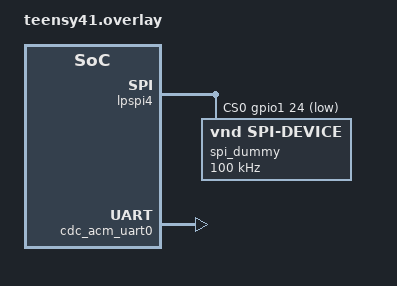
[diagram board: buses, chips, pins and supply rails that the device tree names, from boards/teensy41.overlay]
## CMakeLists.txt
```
# SPDX-License-Identifier: Apache-2.0

cmake_minimum_required(VERSION 3.20.0)

set(BOARD teensy41)

get_filename_component(LPSPI_MODULE
    "${CMAKE_CURRENT_LIST_DIR}/../../../../../modules/lpspi"
    ABSOLUTE
)

list(APPEND EXTRA_ZEPHYR_MODULES 
	${LPSPI_MODULE}
)

find_package(Zephyr REQUIRED HINTS $ENV{ZEPHYR_BASE})
project(lpspi_sample)

FILE(GLOB app_sources src/*.cpp)
target_sources(app PRIVATE ${app_sources})
```

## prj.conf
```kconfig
# Enable C++ and STL support 
CONFIG_CPP=y 
CONFIG_CPP_EXCEPTIONS=y 
CONFIG_CPP_RTTI=y 
CONFIG_STD_CPP23=y 
CONFIG_GLIBCXX_LIBCPP=y 
CONFIG_NEWLIB_LIBC=y 
CONFIG_NEWLIB_LIBC_NANO=n 

# System 
CONFIG_FPU=y 
CONFIG_FPU_SHARING=y 
CONFIG_THREAD_ANALYZER=y

# USB (new)
CONFIG_USB_DEVICE_STACK_NEXT=y
CONFIG_CDC_ACM_SERIAL_INITIALIZE_AT_BOOT=y

# Enable logging
CONFIG_LOG=y
CONFIG_USBD_LOG_LEVEL_WRN=y
CONFIG_LOG_BUFFER_SIZE=8192
# Enable console
CONFIG_CONSOLE=y
CONFIG_UART_CONSOLE=y
CONFIG_LOG_PRINTK=n
CONFIG_SHELL_LOG_BACKEND=n

# driver features
CONFIG_SPI=y
```

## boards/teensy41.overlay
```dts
&lpspi4 {
    // driver: zephyr 4.3.0-rc1
    // compatible = "nxp,lpspi";
    // driver: zephyr 4.0.0
    compatible = "nxp,imx-lpspi";

    status = "okay";

    transfer-delay = <50>; // ns

    pinctrl-0 = <&pinmux_lpspi4>;
    pinctrl-names = "default";
    
    cs-gpios = <&gpio1 24 GPIO_ACTIVE_LOW>; // Steering 1 (front-left)

    spi_dummy: nodevice@0{
        reg = <0>;
        compatible = "vnd,spi-device";
        spi-max-frequency = <100000>;
    };
};

&zephyr_udc0 {
    cdc_acm_uart0: cdc_acm_uart0 {
		compatible = "zephyr,cdc-acm-uart";
	};
};

/ {
    chosen {
	    zephyr,console = &cdc_acm_uart0;
        // use hardware uart for early debug (if necessary):
        // zephyr,console = &lpuart6;
    };
};
```

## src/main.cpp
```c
#include <zephyr/device.h>
#include <zephyr/drivers/spi.h>

int main(){
    printk("LPSPI sample application\n");

    const spi_dt_spec spi_dummy = SPI_DT_SPEC_GET(DT_NODELABEL(spi_dummy), SPI_WORD_SET(8));

    if (!spi_is_ready_dt(&spi_dummy)) {
		printk("spi_dummy: device not ready.\n");
		return 0;
	}

    while (true) {        
        uint8_t write_content = 0x2A;
        struct spi_buf write_buf = {.buf = &write_content, .len = 1};
        struct spi_buf_set write_bufs = {.buffers = &write_buf, .count = 1};

        uint8_t read_content;
        struct spi_buf read_buf = {.buf = &read_content, .len = 1};
        struct spi_buf_set read_bufs = {.buffers = &read_buf, .count = 1};

        spi_write_dt(&spi_dummy, &write_bufs);
        printk("spi_dummy: written: %x\n", write_content);

        spi_read_dt(&spi_dummy, &read_bufs);
        printk("spi_dummy: read: %x\n", read_content);

        spi_transceive_dt(&spi_dummy, &write_bufs, &read_bufs);
        printk("spi_dummy: transceived: %x (written) | %x (read)\n", write_content, read_content);
    }
}
```
